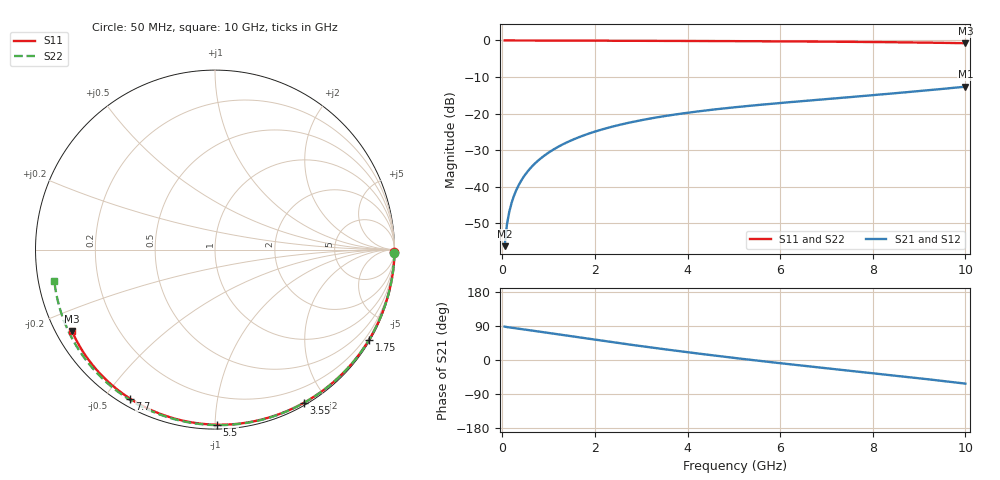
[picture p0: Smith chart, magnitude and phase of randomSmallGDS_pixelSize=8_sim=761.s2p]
! freq	dB(S11)	phase(S11)	dB(S12)	phase(S12)
!  dB(S21)	phase(S21)	dB(S22)	phase(S22)
!S-par simulation data
#  GHz  S  DB  R 50
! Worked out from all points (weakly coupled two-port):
!   200 points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, 50 MHz to 10 GHz, reference 50 ohm
!   highest |S21| = -12.63 dB at 10 GHz (marker M1); lowest = -56.2 dB at 50 MHz (marker M2)
!   lowest |S11| = -0.8 dB at 10 GHz (marker M3), VSWR 23.14, Z = 2.31 - j13.2 ohm
!   |S11| at or under -10 dB: nowhere
!   |S22| runs from -0.8 to 0.0 dB; largest |S21 - S12| = 0
!   S11 on the Smith chart (normalised r, x): 50 MHz: open; 1.75 GHz: 0.04, -3.68; 3.55 GHz: 0.03, -1.73; 5.5 GHz: 0.02, -1.01; 7.7 GHz: 0.03, -0.58; 10 GHz: 0.05, -0.26
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0.05  -0.00 -0.9  -56.23 88.2  -56.23 88.2  -0.00 -1.0
0.1  -0.00 -1.8  -50.31 86.9  -50.31 86.9  -0.00 -1.9
0.15  -0.00 -2.7  -46.87 85.9  -46.87 85.9  -0.00 -2.9
0.2  -0.00 -3.5  -44.43 85.1  -44.43 85.1  -0.00 -3.9
0.25  -0.00 -4.4  -42.52 84.3  -42.52 84.3  -0.00 -4.9
0.35  -0.00 -6.2  -39.64 82.7  -39.64 82.7  -0.01 -6.8
0.5  -0.01 -8.8  -36.58 80.1  -36.58 80.1  -0.01 -9.7
0.7  -0.02 -12.3  -33.69 76.6  -33.69 76.6  -0.02 -13.6
1  -0.02 -17.5  -30.65 71.3  -30.65 71.3  -0.03 -19.3
1.35  -0.04 -23.6  -28.13 65.0  -28.13 65.0  -0.04 -25.9
1.75  -0.05 -30.4  -25.99 57.9  -25.99 57.9  -0.05 -33.4
2.6  -0.08 -44.6  -22.87 43.2  -22.87 43.2  -0.08 -49.0
3.4  -0.11 -57.6  -20.89 30.0  -20.89 30.0  -0.12 -63.2
3.55  -0.12 -59.9  -20.59 27.6  -20.59 27.6  -0.12 -65.8
4.3  -0.15 -71.6  -19.28 16.0  -19.28 16.0  -0.16 -78.6
5.05  -0.19 -82.8  -18.22 4.9  -18.22 4.9  -0.20 -90.9
5.5  -0.21 -89.3  -17.67 -1.5  -17.67 -1.5  -0.23 -98.2
6.7  -0.30 -106.2  -16.34 -17.8  -16.34 -17.8  -0.32 -117.0
7.7  -0.39 -119.7  -15.28 -31.0  -15.28 -31.0  -0.42 -132.3
8.35  -0.47 -128.4  -14.58 -39.5  -14.58 -39.5  -0.51 -142.4
9.2  -0.60 -139.7  -13.61 -51.0  -13.61 -51.0  -0.64 -155.8
10  -0.75 -150.4  -12.63 -62.3  -12.63 -62.3  -0.80 -169.1
